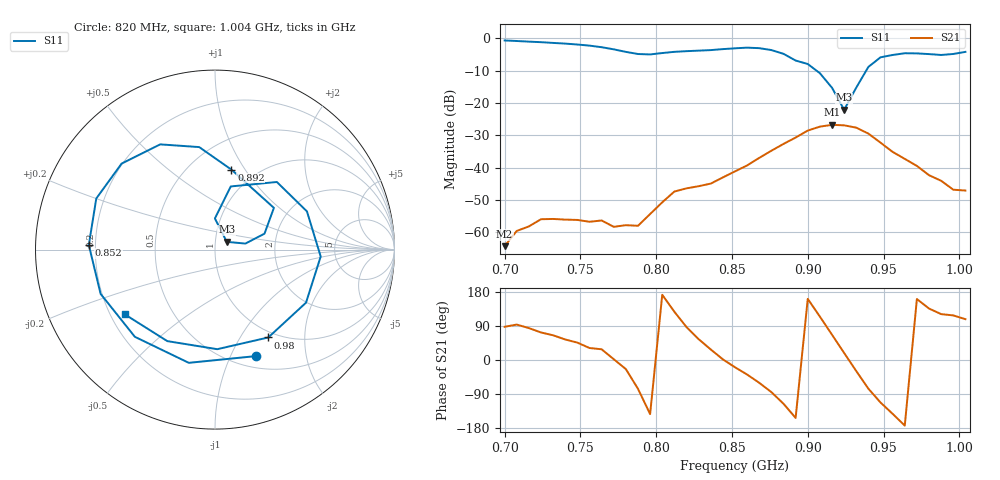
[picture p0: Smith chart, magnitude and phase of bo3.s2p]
# Hz S RI R 50
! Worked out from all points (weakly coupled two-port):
!   39 points, 700 MHz to 1.004 GHz, reference 50 ohm
!   highest |S21| = -26.73 dB at 916 MHz (marker M1); lowest = -64.3 dB at 700 MHz (marker M2)
!   lowest |S11| = -22.1 dB at 924 MHz (marker M3), VSWR 1.17, Z = 56.8 + j4.95 ohm
!   |S11| at or under -10 dB: 905.9 MHz to 938.5 MHz (32.65 MHz wide, 3.54 % of centre)
!   S12 and S22 are empty: the file has one direction only
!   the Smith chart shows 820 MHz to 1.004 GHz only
!   S11 on the Smith chart (normalised r, x): 820 MHz: 0.63, -1.25; 852 MHz: 0.17, +0.02; 892 MHz: 0.77, +0.87; 980 MHz: 0.92, -1.33; 1.004 GHz: 0.26, -0.30
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7e8  0.766 0.5283  2.53e-05 0.00061  0 0  0 0
7.24e8  0.8351 -0.2624  0.000475 0.00152  0 0  0 0
7.4e8  0.441 -0.7058  0.000922 0.00128  0 0  0 0
7.56e8  -0.2016 -0.7472  0.00124 0.000764  0 0  0 0
7.72e8  -0.6541 -0.1794  0.00122 4.43e-05  0 0  0 0
7.8e8  -0.5693 0.2442  0.00118 -0.000525  0 0  0 0
7.88e8  -0.2047 0.5364  0.000305 -0.00123  0 0  0 0
7.96e8  0.2801 0.4913  -0.00153 -0.00116  0 0  0 0
8.04e8  0.5821 0.1195  -0.00289 0.000402  0 0  0 0
8.2e8  0.2263 -0.5935  0.000261 0.00479  0 0  0 0
8.36e8  -0.4464 -0.4859  0.00502 0.00265  0 0  0 0
8.52e8  -0.7031 0.026  0.00829 -0.00288  0 0  0 0
8.76e8  -0.3054 0.5863  0.00167 -0.0182  0 0  0 0
8.92e8  0.0914 0.4456  -0.0261 -0.0134  0 0  0 0
9.08e8  0.2758 0.0888  -0.0179 0.0393  0 0  0 0
9.16e8  0.1692 0.0336  0.0182 0.0423  0 0  0 0
9.24e8  0.0658 0.0433  0.0429 0.0144  0 0  0 0
9.4e8  0.0878 0.3519  0.00831 -0.0327  0 0  0 0
9.56e8  0.5123 0.2128  -0.0139 -0.0108  0 0  0 0
9.64e8  0.5889 -0.0386  -0.0136 -0.00164  0 0  0 0
9.8e8  0.2969 -0.4895  -0.00549 0.00534  0 0  0 0
1.004e9  -0.504 -0.3598  -0.00136 0.00422  0 0  0 0
